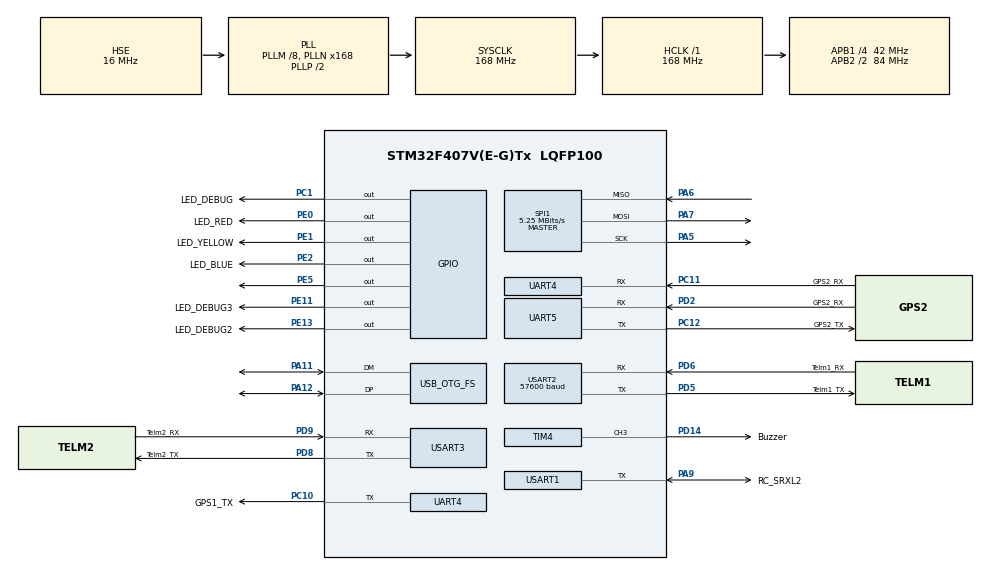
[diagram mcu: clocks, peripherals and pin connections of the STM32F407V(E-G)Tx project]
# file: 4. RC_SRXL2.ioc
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Mcu.Family=STM32F4
Mcu.Name=STM32F407V(E-G)Tx
Mcu.Package=LQFP100
NVIC.OTG_FS_IRQn=true\:0\:0\:false\:false\:true\:false\:true\:true
NVIC.PriorityGroup=NVIC_PRIORITYGROUP_4
NVIC.TIM8_TRG_COM_TIM14_IRQn=true\:0\:0\:false\:false\:true\:true\:true\:true
NVIC.UART5_IRQn=true\:0\:0\:false\:false\:true\:true\:true\:true
NVIC.USART1_IRQn=true\:0\:0\:false\:false\:true\:true\:true\:true
NVIC.USART2_IRQn=true\:0\:0\:false\:false\:true\:true\:true\:true
PA11.Mode=Device_Only
PA11.Signal=USB_OTG_FS_DM
PA12.Mode=Device_Only
PA12.Signal=USB_OTG_FS_DP
PA13.Mode=Serial_Wire
PA13.Signal=SYS_JTMS-SWDIO
PA14.Mode=Serial_Wire
PA14.Signal=SYS_JTCK-SWCLK
PA5.Mode=Full_Duplex_Master
PA5.Signal=SPI1_SCK
PA6.Mode=Full_Duplex_Master
PA6.Signal=SPI1_MISO
PA7.Mode=Full_Duplex_Master
PA7.Signal=SPI1_MOSI
PA9.GPIO_Label=RC_SRXL2
PA9.GPIO_ModeDefaultOD=GPIO_MODE_AF_PP
PA9.GPIO_PuPd=GPIO_PULLUP
PA9.Mode=Half_duplex(single_wire_mode)
PA9.Signal=USART1_TX
PC1.GPIO_Label=LED_DEBUG
PC1.Signal=GPIO_Output
PC10.GPIO_Label=GPS1_TX
PC10.Mode=Asynchronous
PC10.Signal=UART4_TX
PC11.GPIO_Label=GPS2_RX
PC11.Mode=Asynchronous
PC11.Signal=UART4_RX
PC12.GPIO_Label=GPS2_TX
PC12.Mode=Asynchronous
PC12.Signal=UART5_TX
PD11.Signal=USART3_CTS
PD12.Signal=USART3_RTS
PD14.GPIO_Label=Buzzer
PD14.Signal=S_TIM4_CH3
PD2.GPIO_Label=GPS2_RX
PD2.Mode=Asynchronous
PD2.Signal=UART5_RX
PD3.Signal=USART2_CTS
PD4.Signal=USART2_RTS
PD5.GPIO_Label=Telm1_TX
PD5.Mode=Asynchronous
PD5.Signal=USART2_TX
PD6.GPIO_Label=Telm1_RX
PD6.Mode=Asynchronous
PD6.Signal=USART2_RX
PD8.GPIO_Label=Telm2_TX
PD8.Mode=Asynchronous
PD8.Signal=USART3_TX
PD9.GPIO_Label=Telm2_RX
PD9.Mode=Asynchronous
PD9.Signal=USART3_RX
PE0.GPIO_Label=LED_RED
PE0.Signal=GPIO_Output
PE1.GPIO_Label=LED_YELLOW
PE1.Signal=GPIO_Output
PE11.GPIO_Label=LED_DEBUG3
PE11.Signal=GPIO_Output
PE13.GPIO_Label=LED_DEBUG2
PE13.Signal=GPIO_Output
PE2.GPIO_Label=LED_BLUE
PE2.Signal=GPIO_Output
PE5.Signal=GPIO_Output
PH0-OSC_IN.Mode=HSE-External-Oscillator
PH0-OSC_IN.Signal=RCC_OSC_IN
PH1-OSC_OUT.Mode=HSE-External-Oscillator
PH1-OSC_OUT.Signal=RCC_OSC_OUT
ProjectManager.HeapSize=0x200
ProjectManager.StackSize=0x400
ProjectManager.TargetToolchain=STM32CubeIDE
RCC.48MHZClocksFreq_Value=48000000
RCC.AHBFreq_Value=168000000
RCC.APB1CLKDivider=RCC_HCLK_DIV4
RCC.APB1Freq_Value=42000000
RCC.APB1TimFreq_Value=84000000
RCC.APB2CLKDivider=RCC_HCLK_DIV2
RCC.APB2Freq_Value=84000000
RCC.APB2TimFreq_Value=168000000
RCC.CortexFreq_Value=168000000
RCC.HCLKFreq_Value=168000000
RCC.HSE_VALUE=16000000
RCC.HSI_VALUE=16000000
RCC.LSE_VALUE=32768
RCC.PLLM=8
RCC.PLLN=168
RCC.PLLQ=7
RCC.SYSCLKFreq_VALUE=168000000
RCC.SYSCLKSource=RCC_SYSCLKSOURCE_PLLCLK
RCC.VCOOutputFreq_Value=336000000
SH.S_TIM4_CH3.0=TIM4_CH3,PWM Generation3 CH3
SPI1.BaudRatePrescaler=SPI_BAUDRATEPRESCALER_16
SPI1.CLKPhase=SPI_PHASE_2EDGE
SPI1.CLKPolarity=SPI_POLARITY_HIGH
SPI1.CalculateBaudRate=5.25 MBits/s
SPI1.Direction=SPI_DIRECTION_2LINES
SPI1.Mode=SPI_MODE_MASTER
SPI1.VirtualType=VM_MASTER
TIM14.AutoReloadPreload=TIM_AUTORELOAD_PRELOAD_DISABLE
TIM14.Channel=TIM_CHANNEL_1
TIM14.Period=1000-1
TIM14.Prescaler=84-1
TIM4.Channel-PWM\ Generation3\ CH3=TIM_CHANNEL_3
TIM4.Period=64220-1
TIM4.Prescaler=5-1
TIM4.Pulse-PWM\ Generation3\ CH3=0
UART4.VirtualMode=Asynchronous
UART5.VirtualMode=Asynchronous
USART1.VirtualMode=VM_ASYNC
USART2.BaudRate=57600
USART2.VirtualMode=VM_ASYNC
USART3.VirtualMode=VM_ASYNC
USB_DEVICE.CLASS_NAME_FS=CDC
USB_DEVICE.USBD_DEBUG_LEVEL-CDC_FS=0
USB_DEVICE.VirtualMode-CDC_FS=Cdc
USB_DEVICE.VirtualModeFS=Cdc_FS
USB_OTG_FS.VirtualMode=Device_Only
VP_TIM14_VS_ClockSourceINT.Mode=Enable_Timer
VP_TIM14_VS_no_output1.Mode=Output Compare1 No Output
VP_TIM4_VS_ClockSourceINT.Mode=Internal
VP_USB_DEVICE_VS_USB_DEVICE_CDC_FS.Mode=CDC_FS
board=custom

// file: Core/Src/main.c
/* USER CODE BEGIN Header */
/**
  ******************************************************************************
  * @file           : main.c
  * @brief          : Main program body
  ******************************************************************************
  * @attention
  *
  * Copyright (c) 2025 STMicroelectronics.
  * All rights reserved.
  *
  * This software is licensed under terms that can be found in the LICENSE file
  * in the root directory of this software component.
  * If no LICENSE file comes with this software, it is provided AS-IS.
  *
  ******************************************************************************
  */
/* USER CODE END Header */
#include "main.h"
#include "usb_device.h"

/* USER CODE BEGIN Includes */
#include "usbd_cdc_if.h"

#include <FC_Basic/driver_Buzzer.h>

#include <FC_RC/RadioControl.h>
#include <FC_RC/driver_SRXL2.h>

#include <FC_Gyro/driver_ICM42688.h>

/* USER CODE END Includes */

/* USER CODE BEGIN PTD */
int _write(int file, char *p, int len)
{
#define PRINT_CDC 1
#if PRINT_CDC == 0
	for(int i=0; i<len; i++)
	{
		while(!LL_USART_IsActiveFlag_TXE(USART2));
		LL_USART_TransmitData8(USART2, *(p+i));
	}
#else
	while(USBD_BUSY == CDC_Transmit_FS((uint8_t*)p, len)) {}
	return len;
#endif
}

/* USER CODE END PTD */

/* USER CODE BEGIN PV */
PARM_RC PARM_rc;

// Telm1
extern uint8_t uart2_rx_flag;
extern uint8_t uart2_rx_data;

// Telm2
extern uint8_t uart3_rx_flag;
extern uint8_t uart3_rx_data;
/* USER CODE END PV */

void SystemClock_Config(void);
static void MX_GPIO_Init(void);
static void MX_USART1_UART_Init(void);
static void MX_TIM4_Init(void);
static void MX_TIM14_Init(void);
static void MX_SPI1_Init(void);
static void MX_USART2_UART_Init(void);
static void MX_USART3_UART_Init(void);
static void MX_UART4_Init(void);
static void MX_UART5_Init(void);
/* USER CODE BEGIN PFP */
extern int PARM_load(void);
/* USER CODE END PFP */

int main(void)
{

  /* MCU Configuration--------------------------------------------------------*/

  /* Reset of all peripherals, Initializes the Flash interface and the Systick. */
  HAL_Init();

  /* Configure the system clock */
  SystemClock_Config();

  /* Initialize all configured peripherals */
  MX_GPIO_Init();
  MX_USART1_UART_Init();
  MX_TIM4_Init();
  MX_TIM14_Init();
  MX_SPI1_Init();
  MX_USART2_UART_Init();
  MX_USART3_UART_Init();
  MX_UART4_Init();
  MX_UART5_Init();
  MX_USB_DEVICE_Init();
  /* USER CODE BEGIN 2 */

  LL_TIM_EnableCounter(TIM4);
  LL_TIM_EnableCounter(TIM14);

  PARM_load();

  SRXL2_Initialization();
  // Servo OUT 초기화
  BuzzerPlayInit();

  // interrupt when finished receiving
  LL_USART_EnableIT_RXNE(USART1);
  LL_USART_EnableIT_RXNE(USART2);
  LL_USART_EnableIT_RXNE(USART3);

  // 필수 기기 점검
  SRXL2_Connect();
  ICM42688_Initialization();
  BuzzerPlayOneCycle();

  /* USER CODE END 2 */

  /* Infinite loop */
  /* USER CODE BEGIN WHILE */
  while (1)
  {
	  if(SRXL2_GetData() != 0)
	  {
		  // Do fail safe
	  }

//	  printf("%04d %04d %04d %04d\n\r",
//			  RC_channel.value[PARM_rc.MAP.THR],
//			  RC_channel.value[PARM_rc.MAP.PIT],
//			  RC_channel.value[PARM_rc.MAP.ROL],
//			  RC_channel.value[PARM_rc.MAP.YAW]
//						 );

	  ICM42688_Get6AxisRawData();

	  // SRXL2_reqSignalQuality();
	  // HAL_Delay(100);

	  //Log_Send();

    /* USER CODE END WHILE */

  }
}

void SystemClock_Config(void)
{
  RCC_OscInitTypeDef RCC_OscInitStruct = {0};
  RCC_ClkInitTypeDef RCC_ClkInitStruct = {0};

  /** Configure the main internal regulator output voltage
  */
  __HAL_RCC_PWR_CLK_ENABLE();
  __HAL_PWR_VOLTAGESCALING_CONFIG(PWR_REGULATOR_VOLTAGE_SCALE1);

  /** Initializes the RCC Oscillators according to the specified parameters
  * in the RCC_OscInitTypeDef structure.
  */
  RCC_OscInitStruct.OscillatorType = RCC_OSCILLATORTYPE_HSE;
  RCC_OscInitStruct.HSEState = RCC_HSE_ON;
  RCC_OscInitStruct.PLL.PLLState = RCC_PLL_ON;
  RCC_OscInitStruct.PLL.PLLSource = RCC_PLLSOURCE_HSE;
  RCC_OscInitStruct.PLL.PLLM = 8;
  RCC_OscInitStruct.PLL.PLLN = 168;
  RCC_OscInitStruct.PLL.PLLP = RCC_PLLP_DIV2;
  RCC_OscInitStruct.PLL.PLLQ = 7;
  if (HAL_RCC_OscConfig(&RCC_OscInitStruct) != HAL_OK)
  {
    Error_Handler();
  }

  /** Initializes the CPU, AHB and APB buses clocks
  */
  RCC_ClkInitStruct.ClockType = RCC_CLOCKTYPE_HCLK|RCC_CLOCKTYPE_SYSCLK
                              |RCC_CLOCKTYPE_PCLK1|RCC_CLOCKTYPE_PCLK2;
  RCC_ClkInitStruct.SYSCLKSource = RCC_SYSCLKSOURCE_PLLCLK;
  RCC_ClkInitStruct.AHBCLKDivider = RCC_SYSCLK_DIV1;
  RCC_ClkInitStruct.APB1CLKDivider = RCC_HCLK_DIV4;
  RCC_ClkInitStruct.APB2CLKDivider = RCC_HCLK_DIV2;

  if (HAL_RCC_ClockConfig(&RCC_ClkInitStruct, FLASH_LATENCY_5) != HAL_OK)
  {
    Error_Handler();
  }
}

static void MX_SPI1_Init(void)
{

  LL_SPI_InitTypeDef SPI_InitStruct = {0};

  LL_GPIO_InitTypeDef GPIO_InitStruct = {0};

  /* Peripheral clock enable */
  LL_APB2_GRP1_EnableClock(LL_APB2_GRP1_PERIPH_SPI1);

  LL_AHB1_GRP1_EnableClock(LL_AHB1_GRP1_PERIPH_GPIOA);
  /**SPI1 GPIO Configuration
  PA5   ------> SPI1_SCK
  PA6   ------> SPI1_MISO
  PA7   ------> SPI1_MOSI
  */
  GPIO_InitStruct.Pin = LL_GPIO_PIN_5|LL_GPIO_PIN_6|LL_GPIO_PIN_7;
  GPIO_InitStruct.Mode = LL_GPIO_MODE_ALTERNATE;
  GPIO_InitStruct.Speed = LL_GPIO_SPEED_FREQ_VERY_HIGH;
  GPIO_InitStruct.OutputType = LL_GPIO_OUTPUT_PUSHPULL;
  GPIO_InitStruct.Pull = LL_GPIO_PULL_NO;
  GPIO_InitStruct.Alternate = LL_GPIO_AF_5;
  LL_GPIO_Init(GPIOA, &GPIO_InitStruct);

  /* SPI1 parameter configuration*/
  SPI_InitStruct.TransferDirection = LL_SPI_FULL_DUPLEX;
  SPI_InitStruct.Mode = LL_SPI_MODE_MASTER;
  SPI_InitStruct.DataWidth = LL_SPI_DATAWIDTH_8BIT;
  SPI_InitStruct.ClockPolarity = LL_SPI_POLARITY_HIGH;
  SPI_InitStruct.ClockPhase = LL_SPI_PHASE_2EDGE;
  SPI_InitStruct.NSS = LL_SPI_NSS_SOFT;
  SPI_InitStruct.BaudRate = LL_SPI_BAUDRATEPRESCALER_DIV16;
  SPI_InitStruct.BitOrder = LL_SPI_MSB_FIRST;
  SPI_InitStruct.CRCCalculation = LL_SPI_CRCCALCULATION_DISABLE;
  SPI_InitStruct.CRCPoly = 10;
  LL_SPI_Init(SPI1, &SPI_InitStruct);
  LL_SPI_SetStandard(SPI1, LL_SPI_PROTOCOL_MOTOROLA);

}

static void MX_TIM4_Init(void)
{

  LL_TIM_InitTypeDef TIM_InitStruct = {0};
  LL_TIM_OC_InitTypeDef TIM_OC_InitStruct = {0};

  LL_GPIO_InitTypeDef GPIO_InitStruct = {0};

  /* Peripheral clock enable */
  LL_APB1_GRP1_EnableClock(LL_APB1_GRP1_PERIPH_TIM4);

  TIM_InitStruct.Prescaler = 4;
  TIM_InitStruct.CounterMode = LL_TIM_COUNTERMODE_UP;
  TIM_InitStruct.Autoreload = 64220-LL_TIM_IC_FILTER_FDIV1_N2;
  TIM_InitStruct.ClockDivision = LL_TIM_CLOCKDIVISION_DIV1;
  LL_TIM_Init(TIM4, &TIM_InitStruct);
  LL_TIM_DisableARRPreload(TIM4);
  LL_TIM_SetClockSource(TIM4, LL_TIM_CLOCKSOURCE_INTERNAL);
  LL_TIM_OC_EnablePreload(TIM4, LL_TIM_CHANNEL_CH3);
  TIM_OC_InitStruct.OCMode = LL_TIM_OCMODE_PWM1;
  TIM_OC_InitStruct.OCState = LL_TIM_OCSTATE_DISABLE;
  TIM_OC_InitStruct.OCNState = LL_TIM_OCSTATE_DISABLE;
  TIM_OC_InitStruct.CompareValue = 0;
  TIM_OC_InitStruct.OCPolarity = LL_TIM_OCPOLARITY_HIGH;
  LL_TIM_OC_Init(TIM4, LL_TIM_CHANNEL_CH3, &TIM_OC_InitStruct);
  LL_TIM_OC_DisableFast(TIM4, LL_TIM_CHANNEL_CH3);
  LL_TIM_SetTriggerOutput(TIM4, LL_TIM_TRGO_RESET);
  LL_TIM_DisableMasterSlaveMode(TIM4);
  LL_AHB1_GRP1_EnableClock(LL_AHB1_GRP1_PERIPH_GPIOD);
  /**TIM4 GPIO Configuration
  PD14   ------> TIM4_CH3
  */
  GPIO_InitStruct.Pin = Buzzer_Pin;
  GPIO_InitStruct.Mode = LL_GPIO_MODE_ALTERNATE;
  GPIO_InitStruct.Speed = LL_GPIO_SPEED_FREQ_LOW;
  GPIO_InitStruct.OutputType = LL_GPIO_OUTPUT_PUSHPULL;
  GPIO_InitStruct.Pull = LL_GPIO_PULL_NO;
  GPIO_InitStruct.Alternate = LL_GPIO_AF_2;
  LL_GPIO_Init(Buzzer_GPIO_Port, &GPIO_InitStruct);

}

static void MX_TIM14_Init(void)
{

  LL_TIM_InitTypeDef TIM_InitStruct = {0};
  LL_TIM_OC_InitTypeDef TIM_OC_InitStruct = {0};

  /* Peripheral clock enable */
  LL_APB1_GRP1_EnableClock(LL_APB1_GRP1_PERIPH_TIM14);

  /* TIM14 interrupt Init */
  NVIC_SetPriority(TIM8_TRG_COM_TIM14_IRQn, NVIC_EncodePriority(NVIC_GetPriorityGrouping(),0, 0));
  NVIC_EnableIRQ(TIM8_TRG_COM_TIM14_IRQn);

  TIM_InitStruct.Prescaler = 83;
  TIM_InitStruct.CounterMode = LL_TIM_COUNTERMODE_UP;
  TIM_InitStruct.Autoreload = 1000-LL_TIM_IC_FILTER_FDIV1_N2;
  TIM_InitStruct.ClockDivision = LL_TIM_CLOCKDIVISION_DIV1;
  LL_TIM_Init(TIM14, &TIM_InitStruct);
  LL_TIM_DisableARRPreload(TIM14);
  TIM_OC_InitStruct.OCMode = LL_TIM_OCMODE_FROZEN;
  TIM_OC_InitStruct.OCState = LL_TIM_OCSTATE_DISABLE;
  TIM_OC_InitStruct.OCNState = LL_TIM_OCSTATE_DISABLE;
  TIM_OC_InitStruct.CompareValue = 0;
  TIM_OC_InitStruct.OCPolarity = LL_TIM_OCPOLARITY_HIGH;
  LL_TIM_OC_Init(TIM14, LL_TIM_CHANNEL_CH1, &TIM_OC_InitStruct);
  LL_TIM_OC_DisableFast(TIM14, LL_TIM_CHANNEL_CH1);
  /* USER CODE BEGIN TIM14_Init 2 */
  LL_TIM_EnableIT_UPDATE(TIM14);
  /* USER CODE END TIM14_Init 2 */

}

static void MX_UART4_Init(void)
{

  LL_USART_InitTypeDef USART_InitStruct = {0};

  LL_GPIO_InitTypeDef GPIO_InitStruct = {0};

  /* Peripheral clock enable */
  LL_APB1_GRP1_EnableClock(LL_APB1_GRP1_PERIPH_UART4);

  LL_AHB1_GRP1_EnableClock(LL_AHB1_GRP1_PERIPH_GPIOC);
  /**UART4 GPIO Configuration
  PC10   ------> UART4_TX
  PC11   ------> UART4_RX
  */
  GPIO_InitStruct.Pin = GPS1_TX_Pin|GPS2_RX_Pin;
  GPIO_InitStruct.Mode = LL_GPIO_MODE_ALTERNATE;
  GPIO_InitStruct.Speed = LL_GPIO_SPEED_FREQ_VERY_HIGH;
  GPIO_InitStruct.OutputType = LL_GPIO_OUTPUT_PUSHPULL;
  GPIO_InitStruct.Pull = LL_GPIO_PULL_NO;
  GPIO_InitStruct.Alternate = LL_GPIO_AF_8;
  LL_GPIO_Init(GPIOC, &GPIO_InitStruct);

  USART_InitStruct.BaudRate = 115200;
  USART_InitStruct.DataWidth = LL_USART_DATAWIDTH_8B;
  USART_InitStruct.StopBits = LL_USART_STOPBITS_1;
  USART_InitStruct.Parity = LL_USART_PARITY_NONE;
  USART_InitStruct.TransferDirection = LL_USART_DIRECTION_TX_RX;
  USART_InitStruct.HardwareFlowControl = LL_USART_HWCONTROL_NONE;
  USART_InitStruct.OverSampling = LL_USART_OVERSAMPLING_16;
  LL_USART_Init(UART4, &USART_InitStruct);
  LL_USART_ConfigAsyncMode(UART4);
  LL_USART_Enable(UART4);

}

static void MX_UART5_Init(void)
{

  LL_USART_InitTypeDef USART_InitStruct = {0};

  LL_GPIO_InitTypeDef GPIO_InitStruct = {0};

  /* Peripheral clock enable */
  LL_APB1_GRP1_EnableClock(LL_APB1_GRP1_PERIPH_UART5);

  LL_AHB1_GRP1_EnableClock(LL_AHB1_GRP1_PERIPH_GPIOC);
  LL_AHB1_GRP1_EnableClock(LL_AHB1_GRP1_PERIPH_GPIOD);
  /**UART5 GPIO Configuration
  PC12   ------> UART5_TX
  PD2   ------> UART5_RX
  */
  GPIO_InitStruct.Pin = GPS2_TX_Pin;
  GPIO_InitStruct.Mode = LL_GPIO_MODE_ALTERNATE;
  GPIO_InitStruct.Speed = LL_GPIO_SPEED_FREQ_VERY_HIGH;
  GPIO_InitStruct.OutputType = LL_GPIO_OUTPUT_PUSHPULL;
  GPIO_InitStruct.Pull = LL_GPIO_PULL_NO;
  GPIO_InitStruct.Alternate = LL_GPIO_AF_8;
  LL_GPIO_Init(GPS2_TX_GPIO_Port, &GPIO_InitStruct);

  GPIO_InitStruct.Pin = GPS2_RXD2_Pin;
  GPIO_InitStruct.Mode = LL_GPIO_MODE_ALTERNATE;
  GPIO_InitStruct.Speed = LL_GPIO_SPEED_FREQ_VERY_HIGH;
  GPIO_InitStruct.OutputType = LL_GPIO_OUTPUT_PUSHPULL;
  GPIO_InitStruct.Pull = LL_GPIO_PULL_NO;
  GPIO_InitStruct.Alternate = LL_GPIO_AF_8;
  LL_GPIO_Init(GPS2_RXD2_GPIO_Port, &GPIO_InitStruct);

  /* UART5 interrupt Init */
  NVIC_SetPriority(UART5_IRQn, NVIC_EncodePriority(NVIC_GetPriorityGrouping(),0, 0));
  NVIC_EnableIRQ(UART5_IRQn);

  USART_InitStruct.BaudRate = 115200;
  USART_InitStruct.DataWidth = LL_USART_DATAWIDTH_8B;
  USART_InitStruct.StopBits = LL_USART_STOPBITS_1;
  USART_InitStruct.Parity = LL_USART_PARITY_NONE;
  USART_InitStruct.TransferDirection = LL_USART_DIRECTION_TX_RX;
  USART_InitStruct.HardwareFlowControl = LL_USART_HWCONTROL_NONE;
  USART_InitStruct.OverSampling = LL_USART_OVERSAMPLING_16;
  LL_USART_Init(UART5, &USART_InitStruct);
  LL_USART_ConfigAsyncMode(UART5);
  LL_USART_Enable(UART5);

}

static void MX_USART1_UART_Init(void)
{

  LL_USART_InitTypeDef USART_InitStruct = {0};

  LL_GPIO_InitTypeDef GPIO_InitStruct = {0};

  /* Peripheral clock enable */
  LL_APB2_GRP1_EnableClock(LL_APB2_GRP1_PERIPH_USART1);

  LL_AHB1_GRP1_EnableClock(LL_AHB1_GRP1_PERIPH_GPIOA);
  /**USART1 GPIO Configuration
  PA9   ------> USART1_TX
  */
  GPIO_InitStruct.Pin = RC_SRXL2_Pin;
  GPIO_InitStruct.Mode = LL_GPIO_MODE_ALTERNATE;
  GPIO_InitStruct.Speed = LL_GPIO_SPEED_FREQ_VERY_HIGH;
  GPIO_InitStruct.OutputType = LL_GPIO_OUTPUT_PUSHPULL;
  GPIO_InitStruct.Pull = LL_GPIO_PULL_UP;
  GPIO_InitStruct.Alternate = LL_GPIO_AF_7;
  LL_GPIO_Init(RC_SRXL2_GPIO_Port, &GPIO_InitStruct);

  /* USART1 interrupt Init */
  NVIC_SetPriority(USART1_IRQn, NVIC_EncodePriority(NVIC_GetPriorityGrouping(),0, 0));
  NVIC_EnableIRQ(USART1_IRQn);

  USART_InitStruct.BaudRate = 115200;
  USART_InitStruct.DataWidth = LL_USART_DATAWIDTH_8B;
  USART_InitStruct.StopBits = LL_USART_STOPBITS_1;
  USART_InitStruct.Parity = LL_USART_PARITY_NONE;
  USART_InitStruct.TransferDirection = LL_USART_DIRECTION_TX_RX;
  USART_InitStruct.OverSampling = LL_USART_OVERSAMPLING_16;
  LL_USART_Init(USART1, &USART_InitStruct);
  LL_USART_Enable(USART1);
  LL_USART_ConfigHalfDuplexMode(USART1);

}

static void MX_USART2_UART_Init(void)
{

  LL_USART_InitTypeDef USART_InitStruct = {0};

  LL_GPIO_InitTypeDef GPIO_InitStruct = {0};

  /* Peripheral clock enable */
  LL_APB1_GRP1_EnableClock(LL_APB1_GRP1_PERIPH_USART2);

  LL_AHB1_GRP1_EnableClock(LL_AHB1_GRP1_PERIPH_GPIOD);
  /**USART2 GPIO Configuration
  PD3   ------> USART2_CTS
  PD4   ------> USART2_RTS
  PD5   ------> USART2_TX
  PD6   ------> USART2_RX
  */
  GPIO_InitStruct.Pin = LL_GPIO_PIN_3|LL_GPIO_PIN_4|Telm1_TX_Pin|Telm1_RX_Pin;
  GPIO_InitStruct.Mode = LL_GPIO_MODE_ALTERNATE;
  GPIO_InitStruct.Speed = LL_GPIO_SPEED_FREQ_VERY_HIGH;
  GPIO_InitStruct.OutputType = LL_GPIO_OUTPUT_PUSHPULL;
  GPIO_InitStruct.Pull = LL_GPIO_PULL_NO;
  GPIO_InitStruct.Alternate = LL_GPIO_AF_7;
  LL_GPIO_Init(GPIOD, &GPIO_InitStruct);

  /* USART2 interrupt Init */
  NVIC_SetPriority(USART2_IRQn, NVIC_EncodePriority(NVIC_GetPriorityGrouping(),0, 0));
  NVIC_EnableIRQ(USART2_IRQn);

  USART_InitStruct.BaudRate = 57600;
  USART_InitStruct.DataWidth = LL_USART_DATAWIDTH_8B;
  USART_InitStruct.StopBits = LL_USART_STOPBITS_1;
  USART_InitStruct.Parity = LL_USART_PARITY_NONE;
  USART_InitStruct.TransferDirection = LL_USART_DIRECTION_TX_RX;
  USART_InitStruct.HardwareFlowControl = LL_USART_HWCONTROL_NONE;
  USART_InitStruct.OverSampling = LL_USART_OVERSAMPLING_16;
  LL_USART_Init(USART2, &USART_InitStruct);
  LL_USART_ConfigAsyncMode(USART2);
  LL_USART_Enable(USART2);

}

static void MX_USART3_UART_Init(void)
{

  LL_USART_InitTypeDef USART_InitStruct = {0};

  LL_GPIO_InitTypeDef GPIO_InitStruct = {0};

  /* Peripheral clock enable */
  LL_APB1_GRP1_EnableClock(LL_APB1_GRP1_PERIPH_USART3);

  LL_AHB1_GRP1_EnableClock(LL_AHB1_GRP1_PERIPH_GPIOD);
  /**USART3 GPIO Configuration
  PD8   ------> USART3_TX
  PD9   ------> USART3_RX
  PD11   ------> USART3_CTS
  PD12   ------> USART3_RTS
  */
  GPIO_InitStruct.Pin = Telm2_TX_Pin|Telm2_RX_Pin|LL_GPIO_PIN_11|LL_GPIO_PIN_12;
  GPIO_InitStruct.Mode = LL_GPIO_MODE_ALTERNATE;
  GPIO_InitStruct.Speed = LL_GPIO_SPEED_FREQ_VERY_HIGH;
  GPIO_InitStruct.OutputType = LL_GPIO_OUTPUT_PUSHPULL;
  GPIO_InitStruct.Pull = LL_GPIO_PULL_NO;
  GPIO_InitStruct.Alternate = LL_GPIO_AF_7;
  LL_GPIO_Init(GPIOD, &GPIO_InitStruct);

  USART_InitStruct.BaudRate = 115200;
  USART_InitStruct.DataWidth = LL_USART_DATAWIDTH_8B;
  USART_InitStruct.StopBits = LL_USART_STOPBITS_1;
  USART_InitStruct.Parity = LL_USART_PARITY_NONE;
  USART_InitStruct.TransferDirection = LL_USART_DIRECTION_TX_RX;
  USART_InitStruct.HardwareFlowControl = LL_USART_HWCONTROL_NONE;
  USART_InitStruct.OverSampling = LL_USART_OVERSAMPLING_16;
  LL_USART_Init(USART3, &USART_InitStruct);
  LL_USART_ConfigAsyncMode(USART3);
  LL_USART_Enable(USART3);

}

static void MX_GPIO_Init(void)
{
  LL_GPIO_InitTypeDef GPIO_InitStruct = {0};

  /* GPIO Ports Clock Enable */
  LL_AHB1_GRP1_EnableClock(LL_AHB1_GRP1_PERIPH_GPIOE);
  LL_AHB1_GRP1_EnableClock(LL_AHB1_GRP1_PERIPH_GPIOH);
  LL_AHB1_GRP1_EnableClock(LL_AHB1_GRP1_PERIPH_GPIOC);
  LL_AHB1_GRP1_EnableClock(LL_AHB1_GRP1_PERIPH_GPIOA);
  LL_AHB1_GRP1_EnableClock(LL_AHB1_GRP1_PERIPH_GPIOD);

  /**/
  LL_GPIO_ResetOutputPin(GPIOE, LED_BLUE_Pin|LL_GPIO_PIN_5|LED_DEBUG3_Pin|LED_DEBUG2_Pin
                          |LED_RED_Pin|LED_YELLOW_Pin);

  /**/
  LL_GPIO_ResetOutputPin(LED_DEBUG_GPIO_Port, LED_DEBUG_Pin);

  /**/
  GPIO_InitStruct.Pin = LED_BLUE_Pin|LL_GPIO_PIN_5|LED_DEBUG3_Pin|LED_DEBUG2_Pin
                          |LED_RED_Pin|LED_YELLOW_Pin;
  GPIO_InitStruct.Mode = LL_GPIO_MODE_OUTPUT;
  GPIO_InitStruct.Speed = LL_GPIO_SPEED_FREQ_LOW;
  GPIO_InitStruct.OutputType = LL_GPIO_OUTPUT_PUSHPULL;
  GPIO_InitStruct.Pull = LL_GPIO_PULL_NO;
  LL_GPIO_Init(GPIOE, &GPIO_InitStruct);

  /**/
  GPIO_InitStruct.Pin = LED_DEBUG_Pin;
  GPIO_InitStruct.Mode = LL_GPIO_MODE_OUTPUT;
  GPIO_InitStruct.Speed = LL_GPIO_SPEED_FREQ_LOW;
  GPIO_InitStruct.OutputType = LL_GPIO_OUTPUT_PUSHPULL;
  GPIO_InitStruct.Pull = LL_GPIO_PULL_NO;
  LL_GPIO_Init(LED_DEBUG_GPIO_Port, &GPIO_InitStruct);

}

void Error_Handler(void)
{
  __disable_irq();
  while (1)
  {
  }
}
